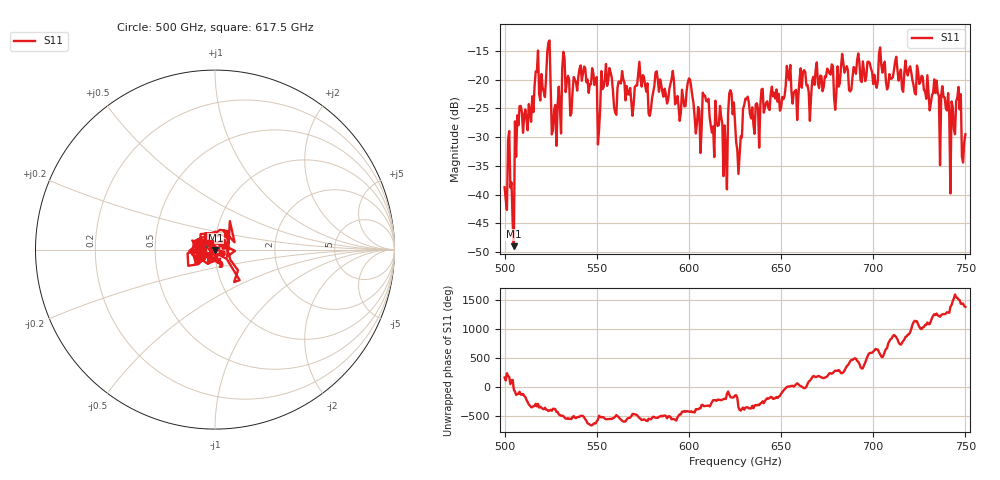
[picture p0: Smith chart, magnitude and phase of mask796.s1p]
!Created with skrf (http://scikit-rf.org).
# GHz S MA R 50.0
!freq magS11 angS11
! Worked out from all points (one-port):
!   401 points, 500 GHz to 750 GHz, reference 50 ohm
!   lowest |S11| = -49.0 dB at 505 GHz (marker M1), VSWR 1.01, Z = 50.2 - j0.271 ohm
!   |S11| at or under -10 dB: start of sweep to end of sweep
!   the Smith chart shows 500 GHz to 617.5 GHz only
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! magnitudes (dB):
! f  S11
! 500 GHz  -38.7
! 505 GHz  -49.0
! 508.1 GHz  -24.6
! 513.1 GHz  -24.3
! 517.5 GHz  -18.7
! 523.8 GHz  -13.6
! 526.9 GHz  -25.3
! 531.2 GHz  -18.1
! 548.8 GHz  -20.9
! 551.9 GHz  -24.8
! 553.8 GHz  -21.3
! 562.5 GHz  -20.4
! 593.8 GHz  -22.9
! 600.6 GHz  -20.0
! 605 GHz  -24.8
! 608.8 GHz  -22.8
! 619.4 GHz  -28.0
! 622.5 GHz  -21.9
! 625 GHz  -27.5
! 626.9 GHz  -36.4
! 630.6 GHz  -23.3
! 656.2 GHz  -24.2
! 687.5 GHz  -22.1
! 718.8 GHz  -19.3
! 738.1 GHz  -23.0
! 743.1 GHz  -24.7
! 746.2 GHz  -21.3
! 750 GHz  -29.5
